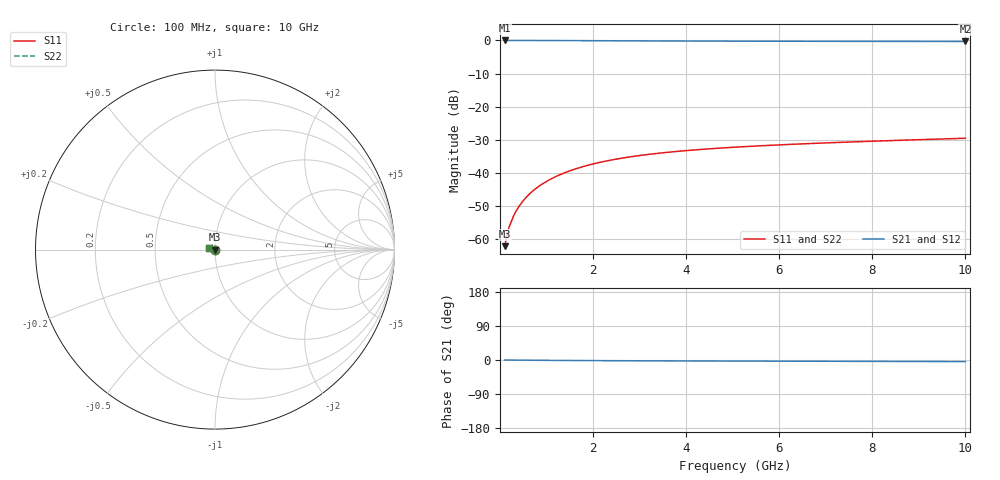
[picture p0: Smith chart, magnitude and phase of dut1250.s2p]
! Touchstone file exported from HFSS 2024.1.0
!  File:  C:/UserFiles/LocalFiles/RDL_TSV_Batchsim/temp_TSV1_1250_1780252302.aedt
!  Generated:  02:37:09 AM Jun  1, 2026
!  Design:  TSV1
!  Project:  temp_TSV1_1250_1780252302
!  Setup:  Setup1
!  Solution:  Sweep
! Variables:
!  dtsv = 8.04um
!  hbump = 3um
!  htsv = 62.83um
!  lrdl = 252.1521522um
!  p = 40
!  p1 = 49.52um
!  t = 500um
!  trdl = 3um
!  wrdl = 24.89489489um
# GHz S MA R 50.000000
! Terminal data exported
! Port[1] = TSV22_T1
! Port[2] = TSV22_T2
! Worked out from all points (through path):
!   100 points, 100 MHz to 10 GHz, reference 50 ohm
!   highest |S21| = 0.00 dB at 100 MHz (marker M1); lowest = -0.3 dB at 10 GHz (marker M2)
!   lowest |S11| = -62.1 dB at 100 MHz (marker M3), VSWR 1.00, Z = 50 - j0.0764 ohm
!   |S11| at or under -10 dB: start of sweep to end of sweep
!   |S22| runs from -62.1 to -29.5 dB; largest |S21 - S12| = 2.4e-15
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0.1  0.0007816 -77.6  0.9998 -0.1  0.9998 -0.1  0.0007816 -77.6
! Gamma 0 0 0 0
! Port Impedance 50 0 50 0
0.2  0.001541 -86.6  0.9997 -0.2  0.9997 -0.2  0.001541 -86.6
0.3  0.002302 -91.0  0.9995 -0.3  0.9995 -0.3  0.002302 -91.0
0.4  0.003059 -94.2  0.9993 -0.4  0.9993 -0.4  0.003059 -94.2
0.5  0.003811 -96.9  0.9991 -0.5  0.9991 -0.5  0.003811 -96.9
0.6  0.004555 -99.3  0.9988 -0.6  0.9988 -0.6  0.004555 -99.3
0.7  0.00529 -101.6  0.9985 -0.6  0.9985 -0.6  0.00529 -101.6
0.8  0.006015 -103.8  0.9981 -0.7  0.9981 -0.7  0.006015 -103.8
0.9  0.006729 -105.9  0.9977 -0.8  0.9977 -0.8  0.006729 -105.9
1.1  0.008119 -109.9  0.9967 -1.0  0.9967 -1.0  0.008119 -109.9
1.4  0.0101 -115.7  0.9951 -1.2  0.9951 -1.2  0.0101 -115.7
1.6  0.01134 -119.3  0.9939 -1.3  0.9939 -1.3  0.01134 -119.3
1.8  0.01251 -122.8  0.9927 -1.5  0.9927 -1.5  0.01251 -122.8
2.1  0.01416 -127.8  0.9907 -1.7  0.9907 -1.7  0.01416 -127.8
2.5  0.01613 -134.0  0.9882 -1.9  0.9882 -1.9  0.01613 -134.0
2.9  0.01787 -139.7  0.9857 -2.1  0.9857 -2.1  0.01787 -139.7
3.4  0.01976 -146.3  0.9828 -2.3  0.9828 -2.3  0.01976 -146.3
4.2  0.02227 -155.5  0.9789 -2.6  0.9789 -2.6  0.02227 -155.5
5.1  0.02455 -164.4  0.9753 -2.8  0.9753 -2.8  0.02455 -164.4
6.7  0.0278 -177.4  0.9707 -3.3  0.9707 -3.3  0.0278 -177.4
8.4  0.03073 171.5  0.9676 -3.8  0.9676 -3.8  0.03073 171.5
10  0.03333 163.0  0.9655 -4.2  0.9655 -4.2  0.03333 163.0
